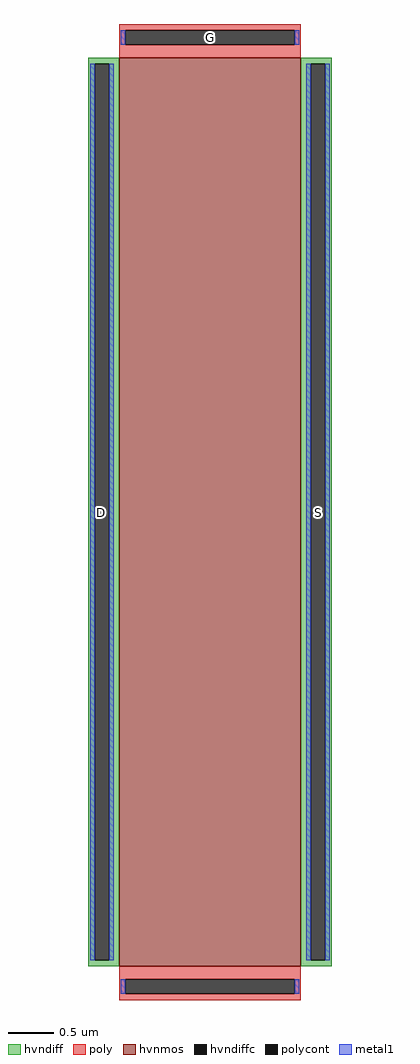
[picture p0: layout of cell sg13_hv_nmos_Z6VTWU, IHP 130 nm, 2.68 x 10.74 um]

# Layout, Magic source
magic
tech ihp-sg13cmos5l
<< hvnmos >>
rect -100 -500 100 500
<< hvndiff >>
rect -134 493 -100 500
rect -134 -493 -127 493
rect -111 -493 -100 493
rect -134 -500 -100 -493
rect 100 493 134 500
rect 100 -493 111 493
rect 127 -493 134 493
rect 100 -500 134 -493
<< hvndiffc >>
rect -127 -493 -111 493
rect 111 -493 127 493
<< poly >>
rect -100 530 100 537
rect -100 514 -93 530
rect 93 514 100 530
rect -100 500 100 514
rect -100 -514 100 -500
rect -100 -530 -93 -514
rect 93 -530 100 -514
rect -100 -537 100 -530
<< polycont >>
rect -93 514 93 530
rect -93 -530 93 -514
<< metal1 >>
rect -98 514 -93 530
rect 93 514 98 530
rect -132 -493 -127 493
rect -111 -493 -106 493
rect 106 -493 111 493
rect 127 -493 132 493
rect -98 -530 -93 -514
rect 93 -530 98 -514
<< labels >>
rlabel hvndiffc -119 0 -119 0 0 D
port 22 nsew
rlabel hvndiffc 119 0 119 0 0 S
port 23 nsew
rlabel polycont 0 522 0 522 0 G
port 24 nsew
<< properties >>
string gencell sg13_hv_nmos
string library sg13cmos5l
string parameters w 10.0 l 2.0 m 1 ng 1 diffcov 100 polycov 100 guard 0 glc 1 grc 1 gtc 1 gbc 1 tbcov 100 rlcov 100 topc 1 botc 1 poverlap 0 doverlap 1 lmin 0.45 wmin 0.15 class mosfet compatible {sg13_lv_nmos sg13_hv_nmos} full_metal 1 conn_gates 0 gate_ring 0 doports 1 viasrc 0 viadrn 0 viagate 0 ccols 1 viagb 0 viagr 0 viagl 0 viagt 0
<< end >>
